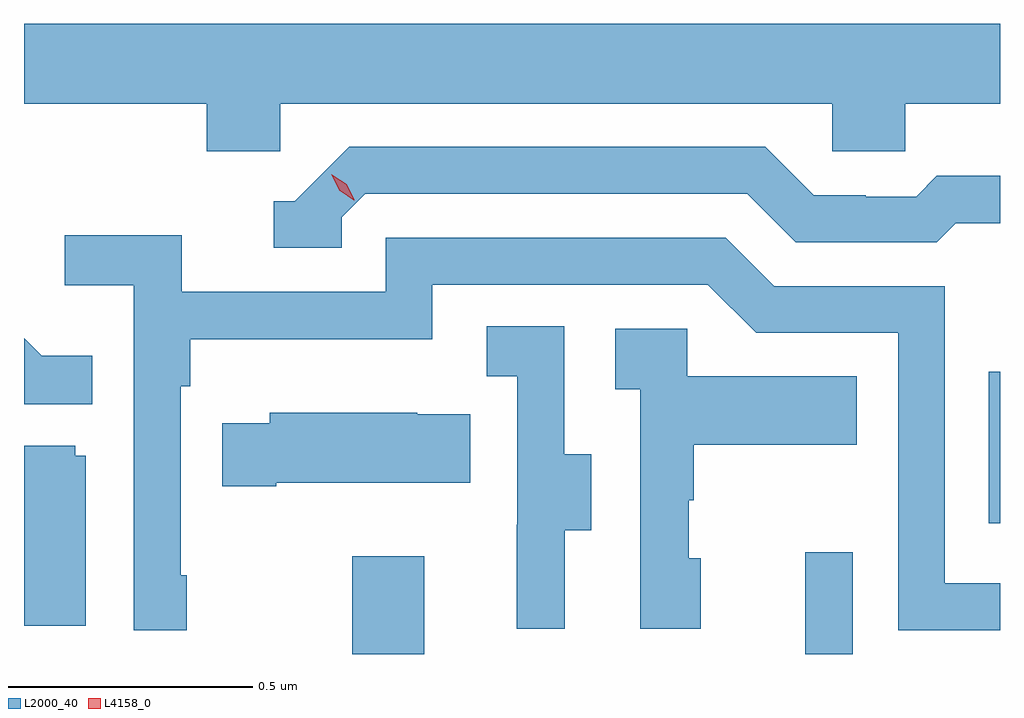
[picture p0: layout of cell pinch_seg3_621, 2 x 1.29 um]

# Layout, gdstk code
import gdstk
lib = gdstk.Library(unit=1e-6, precision=1e-09)
def R(c, l, rs):  # rectangles x0, y0, x1, y1
    for r in rs: c.add(gdstk.rectangle(r[:2], r[2:], *l))
def P(c, l, *ps):  # polygons
    for p in ps: c.add(gdstk.Polygon(p, *l))
L2000_40 = (2000, 40)
L4158_0 = (4158, 0)

pinch_seg3_621 = lib.new_cell('pinch_seg3_621')
R(pinch_seg3_621, L2000_40, [(1045.612,697.123,1045.759,697.324), (1046.54,697.123,1046.637,697.333), (1046.916,697.392,1046.939,697.702)])
P(pinch_seg3_621, L2000_40, [(1045.464,698.252),(1046.595,698.252),(1046.595,698.154),(1046.745,698.154),(1046.745,698.252),(1046.939,698.252),(1046.939,698.416),(1044.939,698.416),(1044.939,698.252),(1045.313,698.252),(1045.313,698.154),(1045.464,698.154)],
  [(1045.59,698.019),(1045.638,698.067),(1046.421,698.067),(1046.52,697.968),(1046.809,697.968),(1046.848,698.007),(1046.939,698.007),(1046.939,698.104),(1046.809,698.104),(1046.767,698.061),(1046.664,698.061),(1046.664,698.064),(1046.557,698.064),(1046.458,698.163),(1045.605,698.163),(1045.494,698.052),(1045.451,698.052),(1045.451,697.956),(1045.59,697.956)],
  [(1045.273,697.285),(1045.26,697.285),(1045.26,697.673),(1045.28,697.673),(1045.28,697.769),(1045.776,697.769),(1045.776,697.881),(1046.34,697.881),(1046.439,697.782),(1046.73,697.782),(1046.73,697.173),(1046.939,697.173),(1046.939,697.269),(1046.826,697.269),(1046.826,697.878),(1046.476,697.878),(1046.377,697.977),(1045.68,697.977),(1045.68,697.866),(1045.262,697.866),(1045.262,697.982),(1045.023,697.982),(1045.023,697.88),(1045.164,697.88),(1045.164,697.173),(1045.273,697.173)],
  [(1046.047,697.378),(1046.101,697.378),(1046.101,697.533),(1046.046,697.533),(1046.046,697.796),(1045.887,697.796),(1045.887,697.693),(1045.95,697.693),(1045.95,697.389),(1045.949,697.389),(1045.949,697.176),(1046.047,697.176)],
  [(1046.326,697.32),(1046.301,697.32),(1046.301,697.439),(1046.311,697.439),(1046.311,697.553),(1046.645,697.553),(1046.645,697.693),(1046.298,697.693),(1046.298,697.791),(1046.151,697.791),(1046.151,697.667),(1046.202,697.667),(1046.202,697.176),(1046.326,697.176)],
  [(1045.079,697.735),(1044.975,697.735),(1044.939,697.771),(1044.939,697.636),(1045.079,697.636)],
  [(1045.456,697.475),(1045.853,697.475),(1045.853,697.615),(1045.745,697.615),(1045.745,697.618),(1045.443,697.618),(1045.443,697.597),(1045.345,697.597),(1045.345,697.468),(1045.456,697.468)],
  [(1045.066,697.53),(1045.044,697.53),(1045.044,697.551),(1044.939,697.551),(1044.939,697.182),(1045.066,697.182)])
P(pinch_seg3_621, L4158_0, [(1045.615,698.054),(1045.585,698.074),(1045.569,698.107),(1045.569,698.107),(1045.569,698.107),(1045.6,698.087),(1045.616,698.055),(1045.616,698.054)])

lib.write_gds('pinch_seg3_621.gds')
